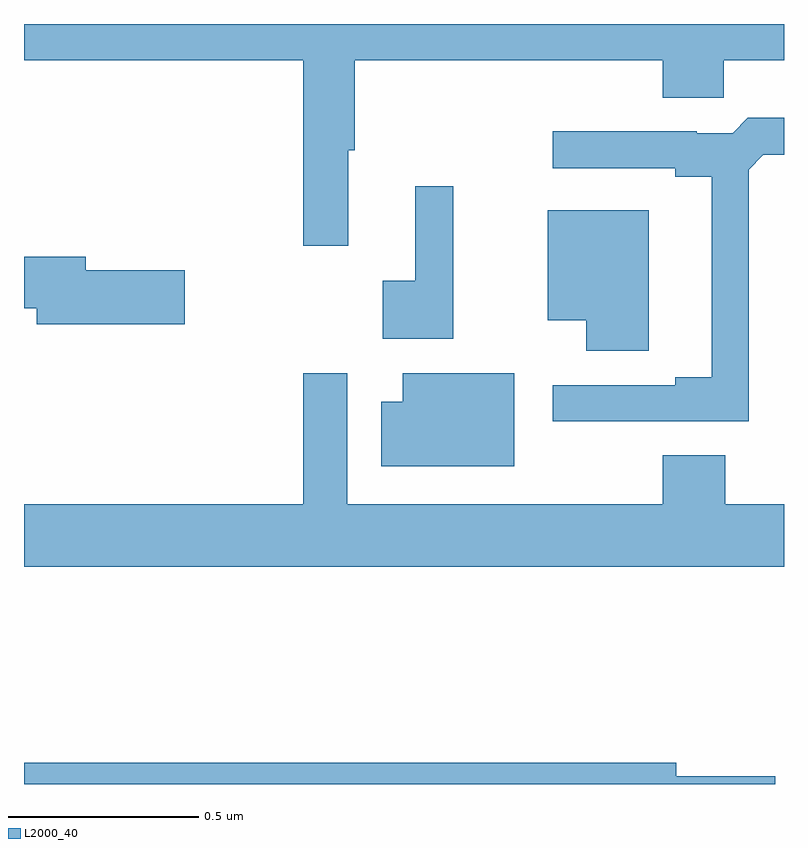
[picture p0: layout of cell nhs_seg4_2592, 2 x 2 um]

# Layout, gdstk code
import gdstk
lib = gdstk.Library(unit=1e-6, precision=1e-09)
def P(c, l, *ps):  # polygons
    for p in ps: c.add(gdstk.Polygon(p, *l))
L2000_40 = (2000, 40)

nhs_seg4_2592 = lib.new_cell('nhs_seg4_2592')
P(nhs_seg4_2592, L2000_40, [(142.853,812.568),(142.871,812.568),(142.871,812.804),(143.681,812.804),(143.681,812.706),(143.841,812.706),(143.841,812.804),(144,812.804),(144,812.9),(142,812.9),(142,812.804),(142.735,812.804),(142.735,812.316),(142.853,812.316)],
  [(143.907,812.517),(143.946,812.556),(144,812.556),(144,812.653),(143.905,812.653),(143.865,812.613),(143.771,812.613),(143.771,812.618),(143.391,812.618),(143.391,812.52),(143.714,812.52),(143.714,812.498),(143.81,812.498),(143.81,811.97),(143.714,811.97),(143.714,811.95),(143.391,811.95),(143.391,811.854),(143.907,811.854)],
  [(143.13,812.473),(143.03,812.473),(143.03,812.225),(142.944,812.225),(142.944,812.072),(143.13,812.072)],
  [(143.644,812.41),(143.378,812.41),(143.378,812.12),(143.479,812.12),(143.479,812.04),(143.644,812.04)],
  [(142.423,812.252),(142.162,812.252),(142.162,812.288),(142,812.288),(142,812.152),(142.034,812.152),(142.034,812.11),(142.423,812.11)],
  [(143.29,811.981),(142.997,811.981),(142.997,811.906),(142.94,811.906),(142.94,811.736),(143.29,811.736)],
  [(144,811.636),(143.845,811.636),(143.845,811.765),(143.681,811.765),(143.681,811.636),(142.851,811.636),(142.851,811.981),(142.735,811.981),(142.735,811.636),(142,811.636),(142,811.472),(144,811.472)],
  [(143.977,810.92),(143.716,810.92),(143.716,810.956),(142,810.956),(142,810.9),(143.977,810.9)])

lib.write_gds('nhs_seg4_2592.gds')
